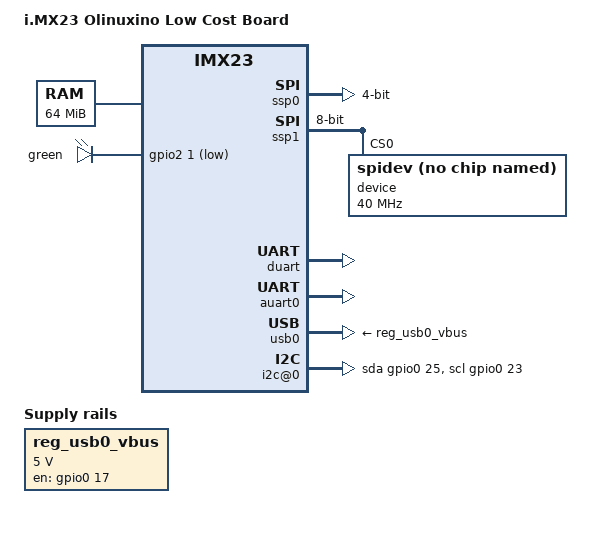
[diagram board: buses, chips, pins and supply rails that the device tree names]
/*
 * Sample configuration for an olinuxino
 * (C) Michel Pollet <buserror@gmail.com>
 */

/dts-v1/;


#include "imx23.dtsi"

/ {
	model = "i.MX23 Olinuxino Low Cost Board";
	compatible = "olimex,imx23-olinuxino", "fsl,imx23";

	memory {
		reg = <0x40000000 0x04000000>;
	};

	apb@80000000 {
		apbh@80000000 {
			pinctrl@80018000 {
				i2c_gpio: i2c_gpio {
					reg = <0>;
					fsl,pinmux-ids = <
						MX23_PAD_GPMI_WPN__GPIO_0_23
						MX23_PAD_GPMI_RDN__GPIO_0_25
					>;
					fsl,pull-up = <1>;
				};

				spi_cs: spi_cs {
					reg = <0>;
					fsl,pinmux-ids = <
						MX23_PAD_GPMI_CLE__GPIO_0_16
					>;
					fsl,pull-up = <1>;
				};

				// USBTX: configure SP2 as 8 bits wide out
				ssp2_8bit_pins_a: ssp2-8bit@0 {
					reg = <0>;
					fsl,pinmux-ids = <
						MX23_PAD_GPMI_D00__SSP2_DATA0
						MX23_PAD_GPMI_D01__SSP2_DATA1
						MX23_PAD_GPMI_D02__SSP2_DATA2 
						MX23_PAD_GPMI_D03__SSP2_DATA3 
						MX23_PAD_GPMI_D04__SSP2_DATA4 
						MX23_PAD_GPMI_D05__SSP2_DATA5 
						MX23_PAD_GPMI_D06__SSP2_DATA6 
						MX23_PAD_GPMI_D07__SSP2_DATA7 
						MX23_PAD_GPMI_WRN__SSP2_SCK 
						MX23_PAD_GPMI_RDY1__SSP2_CMD
					>;
					fsl,drive-strength = <MXS_DRIVE_8mA>;
					fsl,voltage = <MXS_VOLTAGE_HIGH>;
					fsl,pull-up = <MXS_PULL_ENABLE>;
				};

			};
			ssp0: ssp@80010000 {
				compatible = "fsl,imx23-mmc";
				pinctrl-names = "default";
				pinctrl-0 = <&mmc0_4bit_pins_a &mmc0_pins_fixup>;
				bus-width = <4>;
				status = "okay";
			};

			ssp1: ssp@80034000 {
				compatible = "fsl,imx23-spi";
				pinctrl-names = "default";
				pinctrl-0 = <&ssp2_8bit_pins_a>;
				bus-width = <8>;
				status = "okay";

				device@0 {	/* Userland Access */
					compatible = "spidev";
					reg = <0>;
					spi-max-frequency = <40000000>;
				};
			};

			pinctrl@80018000 {
				pinctrl-names = "default";
				pinctrl-0 = <&hog_pins_a>;

				hog_pins_a: hog@0 {
					reg = <0>;
					fsl,pinmux-ids = <
						MX23_PAD_GPMI_ALE__GPIO_0_17
					>;
					fsl,drive-strength = <0>;
					fsl,voltage = <1>;
					fsl,pull-up = <0>;
				};

				led_pin_gpio2_1: led_gpio2_1@0 {
					reg = <0>;
					fsl,pinmux-ids = <
						MX23_PAD_SSP1_DETECT__GPIO_2_1
					>;
					fsl,drive-strength = <0>;
					fsl,voltage = <1>;
					fsl,pull-up = <0>;
				};
			};
		};

		apbx@80040000 {
			duart: serial@80070000 {
				pinctrl-names = "default";
				pinctrl-0 = <&duart_pins_a>;
				status = "okay";
			};

			auart0: serial@8006c000 {
				pinctrl-names = "default";
				pinctrl-0 = <&auart0_2pins_a>;
				status = "okay";
			};

			usbphy0: usbphy@8007c000 {
				status = "okay";
			};
			/* Disable built in RTC, we use the i2c one */
			rtc@8005c000 {
				status = "disable";
			};
		};
	};

	ahb@80080000 {
		usb0: usb@80080000 {
			vbus-supply = <&reg_usb0_vbus>;
			status = "okay";
		};
	};

	regulators {
		compatible = "simple-bus";

		reg_usb0_vbus: usb0_vbus {
			compatible = "regulator-fixed";
			regulator-name = "usb0_vbus";
			regulator-min-microvolt = <5000000>;
			regulator-max-microvolt = <5000000>;
			enable-active-high;
			startup-delay-us = <300>; /* LAN9215 requires a POR of 200us minimum */
			gpio = <&gpio0 17 0>;
		};
	};

	leds {
		compatible = "gpio-leds";
		pinctrl-names = "default";
		pinctrl-0 = <&led_pin_gpio2_1>;

		user {
			label = "green";
			gpios = <&gpio2 1 1>;
			linux,default-trigger = "heartbeat";
		};
	};

	/*
	 * maxi declares the i2c by default as software -- so instanciate a linux driver
	 * for it
	 */
	i2c@0 {
		compatible = "i2c-gpio";
		gpios = <&gpio0 25 0 /* sda */
			 &gpio0 23 0 /* scl */
			>;
		i2c-gpio,delay-us = <2>;	/* ~100 kHz */
		i2c-gpio,scl-output-only = <0>;
		i2c-gpio,sda-open-drain = <1>;

		pinctrl-names = "default";
		pinctrl-0 = <&i2c_gpio>;

		status = "okay";
	};

};
